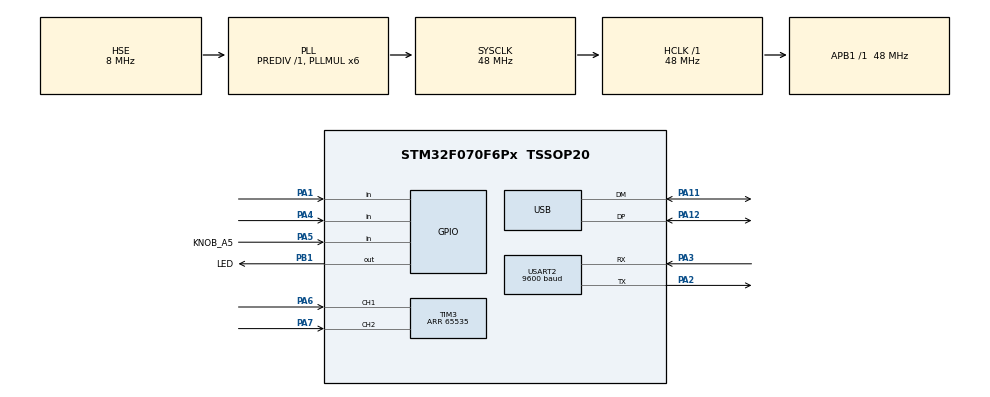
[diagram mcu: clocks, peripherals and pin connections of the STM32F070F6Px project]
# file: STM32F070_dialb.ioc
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Mcu.Family=STM32F0
Mcu.Name=STM32F070F6Px
Mcu.Package=TSSOP20
NVIC.USB_IRQn=true\:0\:0\:false\:false\:true\:false\:true
PA1.GPIO_PuPd=GPIO_PULLUP
PA1.Signal=GPIO_Input
PA11.Mode=Device
PA11.Signal=USB_DM
PA12.Mode=Device
PA12.Signal=USB_DP
PA13.Mode=Serial_Wire
PA13.Signal=SYS_SWDIO
PA14.Mode=Serial_Wire
PA14.Signal=SYS_SWCLK
PA2.Mode=Asynchronous
PA2.Signal=USART2_TX
PA3.Mode=Asynchronous
PA3.Signal=USART2_RX
PA4.GPIO_PuPd=GPIO_PULLUP
PA4.Signal=GPIO_Input
PA5.GPIO_Label=KNOB_A5
PA5.GPIO_PuPd=GPIO_PULLUP
PA5.Signal=GPIO_Input
PA6.GPIO_ModeDefaultPP=GPIO_MODE_AF_OD
PA6.GPIO_PuPd=GPIO_PULLUP
PA6.Signal=S_TIM3_CH1
PA7.GPIO_ModeDefaultPP=GPIO_MODE_AF_OD
PA7.GPIO_PuPd=GPIO_PULLUP
PA7.Signal=S_TIM3_CH2
PB1.GPIO_Label=LED
PB1.Signal=GPIO_Output
PF0-OSC_IN.Mode=HSE-External-Oscillator
PF0-OSC_IN.Signal=RCC_OSC_IN
PF1-OSC_OUT.Mode=HSE-External-Oscillator
PF1-OSC_OUT.Signal=RCC_OSC_OUT
ProjectManager.HeapSize=0x200
ProjectManager.StackSize=0x400
ProjectManager.TargetToolchain=STM32CubeIDE
RCC.AHBFreq_Value=48000000
RCC.APB1Freq_Value=48000000
RCC.APB1TimFreq_Value=48000000
RCC.HCLKFreq_Value=48000000
RCC.PLLMUL=RCC_PLL_MUL6
RCC.SYSCLKFreq_VALUE=48000000
RCC.SYSCLKSource=RCC_SYSCLKSOURCE_PLLCLK
SH.S_TIM3_CH1.0=TIM3_CH1,Encoder_Interface
SH.S_TIM3_CH2.0=TIM3_CH2,Encoder_Interface
TIM3.EncoderMode=TIM_ENCODERMODE_TI12
TIM3.IC1Filter=10
TIM3.IC1Prescaler=TIM_ICPSC_DIV1
TIM3.IC2Filter=10
TIM3.Period=65535
USART2.BaudRate=9600
USART2.VirtualMode-Asynchronous=VM_ASYNC
USB_DEVICE.CLASS_NAME_FS=CDC
USB_DEVICE.VirtualMode=Cdc
USB_DEVICE.VirtualModeFS=Cdc_FS
VP_SYS_VS_PINREMAP.Mode=PINREMAP
VP_USB_DEVICE_VS_USB_DEVICE_CDC_FS.Mode=CDC_FS
board=custom

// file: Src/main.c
/* USER CODE BEGIN Header */
/**
  ******************************************************************************
  * @file           : main.c
  * @brief          : Main program body
  ******************************************************************************
  * @attention
  *
  * <h2><center>&copy; Copyright (c) 2020 STMicroelectronics.
  * All rights reserved.</center></h2>
  *
  * This software component is licensed by ST under Ultimate Liberty license
  * SLA0044, the "License"; You may not use this file except in compliance with
  * the License. You may obtain a copy of the License at:
  *                             www.st.com/SLA0044
  *
  ******************************************************************************
  */
/* USER CODE END Header */

#include "main.h"
#include "usb_device.h"

/* USER CODE BEGIN Includes */
#include "stdbool.h"

/* USER CODE END Includes */

/* USER CODE BEGIN PD */
#define STEP 10
/* USER CODE END PD */

TIM_HandleTypeDef htim3;

UART_HandleTypeDef huart2;

/* USER CODE BEGIN PV */
int  count = 0, count_prev = 0;
unsigned int radio_frequency = 432750000, radio_frequency_prev;
unsigned int sdr_frequency   = 739750000, sdr_frequency_prev;
int tstamp;
bool pressed =  false, RIT_RX = true, RIT_TX = true;
int len;
char tx_buf[20];
char hexbuffer[20];
char textbuf[20];
int pos32=0, i_temp;
// bool data_set_ready = false;
char  rx_buf[15];
int rx_len;

void SystemClock_Config(void);
static void MX_GPIO_Init(void);
static void MX_TIM3_Init(void);
static void MX_USART2_UART_Init(void);

/* USER CODE BEGIN 0 */
void set_radio(int deltata){
        char radio_str[11];
        volatile unsigned char cmd[10];
        volatile int MHZ, KHZ, HZ;
        radio_frequency_prev =  radio_frequency;
        radio_frequency += deltata;
        MHZ = (int)(radio_frequency/1000000); KHZ = (int)((radio_frequency-MHZ*1000000)/1000); HZ = (int)(radio_frequency-MHZ*1000000-KHZ*1000);
               // if ((radio_frequency >= 432000000) && (radio_frequency <= 432500000)){ warn = false;}
        //else {warn = true;}
        sprintf(radio_str," %3d%03d%03d" , MHZ, KHZ, HZ );

        cmd[0] = (radio_str[1]-0x30)*16 + radio_str[2]-0x30;
        cmd[1] = (radio_str[3]-0x30)*16 + radio_str[4]-0x30;
        cmd[2] = (radio_str[5]-0x30)*16 + radio_str[6]-0x30;
        cmd[3] = (radio_str[7]-0x30)*16 + radio_str[8]-0x30;
        cmd[4] =  0x01;
        HAL_UART_Transmit(&huart2, &cmd[0], 5, 10);
        //CDC_Transmit_FS(&cmd[0],5);
}
//------------------------------------------------------
void set_sdr(int deltata){
        int len;
        sdr_frequency_prev = sdr_frequency;
        sdr_frequency += deltata;

        len = sprintf(tx_buf, "F %d\r\n", sdr_frequency);
        CDC_Transmit_FS(tx_buf,len);

}
//------------------------------------------------------
void check4jump(){
       // int len;
       // len = sprintf(tx_buf, "f\r\n");
       // CDC_Transmit_FS(tx_buf,len);
          if( rx_len >0 ) {
                int len, len1;
                HAL_Delay(4);
                //HAL_UART_Transmit(&huart2, &rx_buf[0], rx_len, 10);
                rx_buf[rx_len] =  '\0';
                len  = sprintf(tx_buf,"F %s", rx_buf);
                len1 = sprintf(&tx_buf[len], "\r\n");
                HAL_UART_Transmit(&huart2, &tx_buf[0], len1+len, 10);
                int frq = atoi(rx_buf);
                if ( abs(frq - sdr_frequency_prev) > 1000  )
                                { sdr_frequency =  frq; sdr_frequency_prev = frq;
                                set_radio(frq - sdr_frequency);
                rx_len = 0;     }
                                }
}
//------------------------------------------------------
void setup_wrong_command(){
                len = sprintf(tx_buf,"Wrong command! Enter new command or 'q' to exit!\r\n", rx_buf[0] );
                CDC_Transmit_FS(tx_buf,len);
                HAL_GPIO_WritePin( LED_GPIO_Port, LED_Pin, 0 );
                rx_len = 0;
}
//-------------------------------------------------------
void setup_hello(){
        int len = sprintf(tx_buf,"LZ1NY External Dial\r\nCurrent Setup:\r\n" );
        CDC_Transmit_FS(tx_buf,len);
        HAL_Delay(1);
        len = sprintf(tx_buf,"F1 %d\r\n", sdr_frequency );
        CDC_Transmit_FS(tx_buf,len);
        HAL_Delay(1);
        len = sprintf(tx_buf,"F2 %d\r\n", radio_frequency );
        CDC_Transmit_FS(tx_buf,len);}

void setup(){
        char tmp[12];
        setup_hello();
        while(true) {
                if(rx_len>0) {
                        if(rx_buf[0] == 'q') {
                                HAL_Delay(1);
                                len = sprintf(tx_buf,"Exit Setup Mode \r\n" );
                                CDC_Transmit_FS(tx_buf,len);
                                HAL_GPIO_WritePin( LED_GPIO_Port, LED_Pin, 0 );
                                rx_len = 0;
                                return;       }
                        else if(rx_buf[0] ==  'f') {
                                HAL_Delay(2);
                                        if (rx_buf[1] ==  '1'){
                                                strncpy(&tmp, &rx_buf[3],9);
                                                sdr_frequency = atoi(tmp)       ;
                                                ;
                                                setup_hello();
                                                                }
                                        else if (rx_buf[1] ==  '2'){
                                                strncpy(&tmp, &rx_buf[3],9);
                                                radio_frequency = atoi(tmp)       ;
                                                ;
                                                setup_hello();

                                                                        }
                                        else { setup_wrong_command();}

                                len = sprintf(tx_buf,"Set frequency command\r\n" );
                                CDC_Transmit_FS(tx_buf,len);
                                rx_len = 0;
                                    }
                        else  {   setup_wrong_command();   }

                                }

                else {
                        HAL_GPIO_WritePin( LED_GPIO_Port, LED_Pin, 1 );
                        HAL_Delay(300);
                        //len = sprintf(tx_buf,"Waiting for input..." );
                        //CDC_Transmit_FS(tx_buf,len);
                                                }
                                }  // end WHILE loop

}

//-------------------------------------------------------

/* USER CODE END 0 */
int main(void){  /* USER CODE BEGIN 1 */
  /* USER CODE END 1 */
    /* MCU Configuration--------------------------------------------------------*/
  /* Reset of all peripherals, Initializes the Flash interface and the Systick. */
  HAL_Init();
  // Configure the system clock */
  SystemClock_Config();
  /* Initialize all configured peripherals */
  MX_GPIO_Init();
  MX_TIM3_Init();
  MX_USB_DEVICE_Init();
  MX_USART2_UART_Init();
  /* USER CODE BEGIN 2 */

        set_radio(0);
        set_sdr(0);

  //  if(HAL_GPIO_ReadPin(KNOB_A5_GPIO_Port, KNOB_A5_Pin) == GPIO_PIN_RESET ) { setup(); }

  /* USER CODE END 2 */
   /* Infinite loop */
  while (1) {
    /* USER CODE BEGIN 3 */
        int delta, k;
        //check4jump();
        count = __HAL_TIM_GET_COUNTER(&htim3);
        delta = count - count_prev;
        if (delta != 0){                 k = 1;
                /*
                if ( abs(delta) > 5 ) { k = 2;}
                if ( abs(delta) > 10 ) { k = 3;}
                if ( abs(delta )> 20 ) { k = 4;}
                */
               k = 3;
                delta = k*STEP*delta;
                count_prev =  count;

                if( RIT_TX ){   set_radio(delta);        }
                if( RIT_RX ){   set_sdr(delta);          }

                }

        if(HAL_GPIO_ReadPin(KNOB_A5_GPIO_Port, KNOB_A5_Pin) == GPIO_PIN_RESET ){
                if ( pressed == 0)              {
                        pressed = 1;
                        HAL_GPIO_TogglePin(LED_GPIO_Port, LED_Pin);
                        RIT_TX = !RIT_TX;
                        tstamp = HAL_GetTick(); }
                else {
                        if( HAL_GetTick() - tstamp > 1100 )
                                { setup();
                                pressed = 0;
                                }

                                  }
                                                                             }

	HAL_Delay(300);

        //check4jump();

//---------------------------------------
/*if(VCP_retrieveInputData( hexbuffer,&pos32 )!=0){
        int len; // you could do data processing here.by demo, i just send it back to PC
        len = sprintf(textbuf, "i=%d data=%s \r\n" , i_temp, hexbuffer);
        //export it to char buffer first.
        //SendTextMsgToUSB(textbuf);

        CDC_Transmit_FS(textbuf,len);
        //send the text to PC via cdc
        hexbuffer[0]=  '\0'        ;        }

   i_temp++;
cmd

*/

  }// end while(1)
  /* USER CODE END 3 */
}  // end main()

//-------------------------------------------------------------------------------------------------
void SystemClock_Config(void)
{
  RCC_OscInitTypeDef RCC_OscInitStruct = {0};
  RCC_ClkInitTypeDef RCC_ClkInitStruct = {0};
  RCC_PeriphCLKInitTypeDef PeriphClkInit = {0};

  /** Initializes the CPU, AHB and APB busses clocks
  */
  RCC_OscInitStruct.OscillatorType = RCC_OSCILLATORTYPE_HSE;
  RCC_OscInitStruct.HSEState = RCC_HSE_ON;
  RCC_OscInitStruct.PLL.PLLState = RCC_PLL_ON;
  RCC_OscInitStruct.PLL.PLLSource = RCC_PLLSOURCE_HSE;
  RCC_OscInitStruct.PLL.PLLMUL = RCC_PLL_MUL6;
  RCC_OscInitStruct.PLL.PREDIV = RCC_PREDIV_DIV1;
  if (HAL_RCC_OscConfig(&RCC_OscInitStruct) != HAL_OK)
  {
    Error_Handler();
  }
  /** Initializes the CPU, AHB and APB busses clocks
  */
  RCC_ClkInitStruct.ClockType = RCC_CLOCKTYPE_HCLK|RCC_CLOCKTYPE_SYSCLK
                              |RCC_CLOCKTYPE_PCLK1;
  RCC_ClkInitStruct.SYSCLKSource = RCC_SYSCLKSOURCE_PLLCLK;
  RCC_ClkInitStruct.AHBCLKDivider = RCC_SYSCLK_DIV1;
  RCC_ClkInitStruct.APB1CLKDivider = RCC_HCLK_DIV1;

  if (HAL_RCC_ClockConfig(&RCC_ClkInitStruct, FLASH_LATENCY_1) != HAL_OK)
  {
    Error_Handler();
  }
  PeriphClkInit.PeriphClockSelection = RCC_PERIPHCLK_USB;
  PeriphClkInit.UsbClockSelection = RCC_USBCLKSOURCE_PLL;

  if (HAL_RCCEx_PeriphCLKConfig(&PeriphClkInit) != HAL_OK)
  {
    Error_Handler();
  }
}

static void MX_TIM3_Init(void)
{

  TIM_Encoder_InitTypeDef sConfig = {0};
  TIM_MasterConfigTypeDef sMasterConfig = {0};

  htim3.Instance = TIM3;
  htim3.Init.Prescaler = 0;
  htim3.Init.CounterMode = TIM_COUNTERMODE_UP;
  htim3.Init.Period = 65535;
  htim3.Init.ClockDivision = TIM_CLOCKDIVISION_DIV1;
  htim3.Init.AutoReloadPreload = TIM_AUTORELOAD_PRELOAD_DISABLE;
  sConfig.EncoderMode = TIM_ENCODERMODE_TI12;
  sConfig.IC1Polarity = TIM_ICPOLARITY_RISING;
  sConfig.IC1Selection = TIM_ICSELECTION_DIRECTTI;
  sConfig.IC1Prescaler = TIM_ICPSC_DIV1;
  sConfig.IC1Filter = 10;
  sConfig.IC2Polarity = TIM_ICPOLARITY_RISING;
  sConfig.IC2Selection = TIM_ICSELECTION_DIRECTTI;
  sConfig.IC2Prescaler = TIM_ICPSC_DIV1;
  sConfig.IC2Filter = 10;
  if (HAL_TIM_Encoder_Init(&htim3, &sConfig) != HAL_OK)
  {
    Error_Handler();
  }
  sMasterConfig.MasterOutputTrigger = TIM_TRGO_RESET;
  sMasterConfig.MasterSlaveMode = TIM_MASTERSLAVEMODE_DISABLE;
  if (HAL_TIMEx_MasterConfigSynchronization(&htim3, &sMasterConfig) != HAL_OK)
  {
    Error_Handler();
  }
  /* USER CODE BEGIN TIM3_Init 2 */
HAL_TIM_Encoder_Start_IT(&htim3, &sMasterConfig);
  /* USER CODE END TIM3_Init 2 */

}

static void MX_USART2_UART_Init(void)
{

  huart2.Instance = USART2;
  huart2.Init.BaudRate = 9600;
  huart2.Init.WordLength = UART_WORDLENGTH_8B;
  huart2.Init.StopBits = UART_STOPBITS_1;
  huart2.Init.Parity = UART_PARITY_NONE;
  huart2.Init.Mode = UART_MODE_TX_RX;
  huart2.Init.HwFlowCtl = UART_HWCONTROL_NONE;
  huart2.Init.OverSampling = UART_OVERSAMPLING_16;
  huart2.Init.OneBitSampling = UART_ONE_BIT_SAMPLE_DISABLE;
  huart2.AdvancedInit.AdvFeatureInit = UART_ADVFEATURE_NO_INIT;
  if (HAL_UART_Init(&huart2) != HAL_OK)
  {
    Error_Handler();
  }

}

static void MX_GPIO_Init(void)
{
  GPIO_InitTypeDef GPIO_InitStruct = {0};

  /* GPIO Ports Clock Enable */
  __HAL_RCC_GPIOF_CLK_ENABLE();
  __HAL_RCC_GPIOA_CLK_ENABLE();
  __HAL_RCC_GPIOB_CLK_ENABLE();

  /*Configure GPIO pin Output Level */
  HAL_GPIO_WritePin(LED_GPIO_Port, LED_Pin, GPIO_PIN_RESET);

  /*Configure GPIO pins : PA1 PA4 KNOB_A5_Pin */
  GPIO_InitStruct.Pin = GPIO_PIN_1|GPIO_PIN_4|KNOB_A5_Pin;
  GPIO_InitStruct.Mode = GPIO_MODE_INPUT;
  GPIO_InitStruct.Pull = GPIO_PULLUP;
  HAL_GPIO_Init(GPIOA, &GPIO_InitStruct);

  /*Configure GPIO pin : LED_Pin */
  GPIO_InitStruct.Pin = LED_Pin;
  GPIO_InitStruct.Mode = GPIO_MODE_OUTPUT_PP;
  GPIO_InitStruct.Pull = GPIO_NOPULL;
  GPIO_InitStruct.Speed = GPIO_SPEED_FREQ_LOW;
  HAL_GPIO_Init(LED_GPIO_Port, &GPIO_InitStruct);

}

void Error_Handler(void)
{
}

/************************ (C) COPYRIGHT STMicroelectronics *****END OF FILE****/
